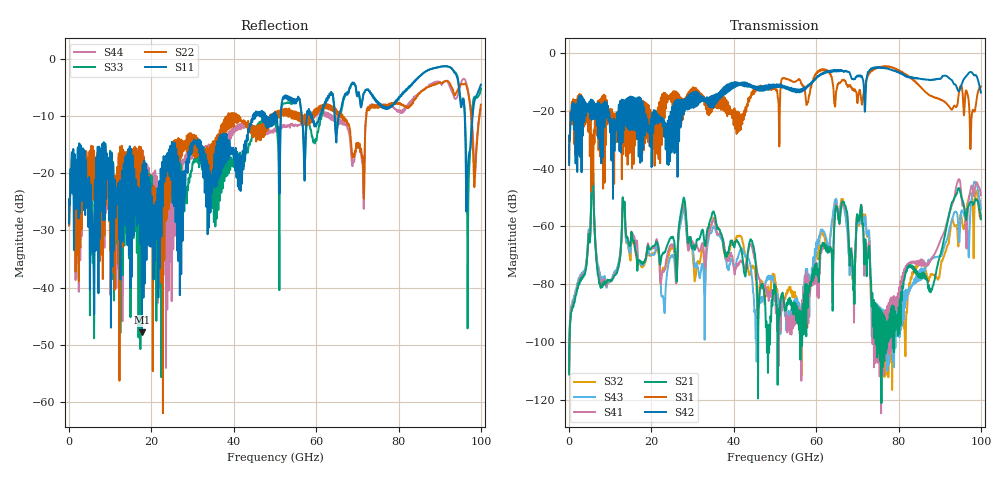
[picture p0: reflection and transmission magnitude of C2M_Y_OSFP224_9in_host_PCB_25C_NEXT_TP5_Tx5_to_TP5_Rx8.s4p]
# GHz S RI R 45
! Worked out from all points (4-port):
!   4000 points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, 25 MHz to 100 GHz, reference 45 ohm
!   strongest paths, dB at 25 MHz, 25.02 GHz, 50.02 GHz, 75.03 GHz, 100 GHz:
!     S42: -38.8, -19.4, -11.1, -5.2, -13.7
!     S31: -38.0, -14.1, -12.4, -5.0, -11.6
!     S21: -111.3, -64.0, -81.2, -88.5, -57.6
!     S41: -110.3, -66.8, -83.7, -96.5, -49.3
!     S43: -109.3, -70.5, -82.5, -89.3, -54.1
!     S32: -110.3, -67.7, -78.8, -92.6, -56.4
!   lowest |S11| = -47.8 dB at 17.7 GHz (marker M1), VSWR 1.01, Z = 45.1 + j0.352 ohm
!   |S11| at or under -10 dB: start of sweep to 44.62 GHz; 59.03 GHz to 60.93 GHz (1.901 GHz wide, 3.17 % of centre); 96.08 GHz to 98 GHz (1.927 GHz wide, 1.99 % of centre) (the widest 3 of 18)
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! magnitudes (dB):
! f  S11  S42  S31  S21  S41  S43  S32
! 25 MHz  -28.8  -38.8  -38.0  -111.3  -110.3  -109.3  -110.3
! 5.7 GHz  -33.4  -16.5  -35.8  -40.9  -40.9  -40.9  -40.9
! 7.7 GHz  -15.7  -18.3  -16.0  -81.3  -79.3  -77.7  -80.5
! 17.7 GHz  -47.8  -22.4  -21.7  -72.5  -72.4  -73.1  -73.7
! 66.38 GHz  -7.7  -6.3  -9.3  -51.4  -52.4  -51.5  -50.5
! 79.92 GHz  -7.2  -6.6  -5.9  -93.3  -84.1  -98.1  -85.3
! 100 GHz  -4.6  -13.7  -11.6  -57.6  -49.3  -54.1  -56.4
